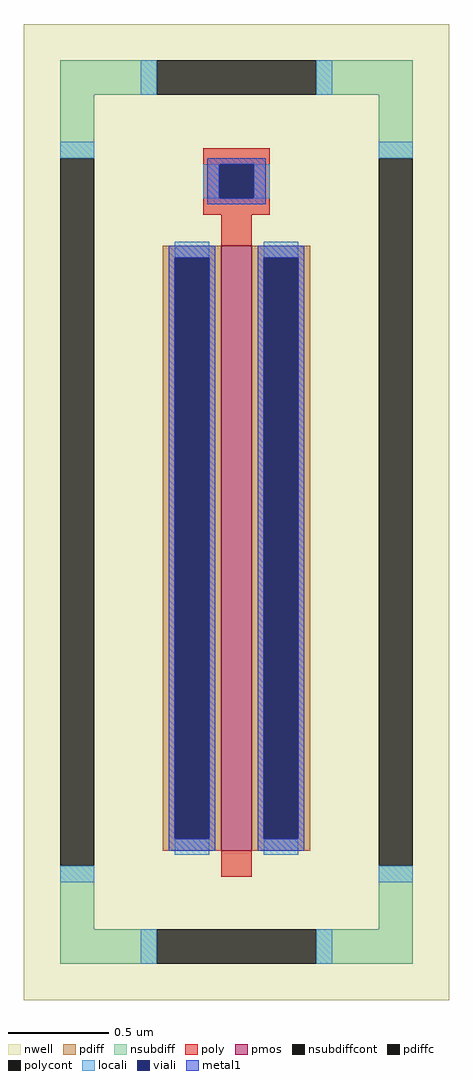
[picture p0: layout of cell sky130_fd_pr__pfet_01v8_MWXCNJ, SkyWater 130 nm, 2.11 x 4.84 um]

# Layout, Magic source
magic
tech sky130A
magscale 1 2
<< nwell >>
rect -211 -484 211 484
<< pmos >>
rect -15 -336 15 264
<< pdiff >>
rect -73 252 -15 264
rect -73 -324 -61 252
rect -27 -324 -15 252
rect -73 -336 -15 -324
rect 15 252 73 264
rect 15 -324 27 252
rect 61 -324 73 252
rect 15 -336 73 -324
<< pdiffc >>
rect -61 -324 -27 252
rect 27 -324 61 252
<< nsubdiff >>
rect -175 414 -79 448
rect 79 414 175 448
rect -175 351 -141 414
rect 141 351 175 414
rect -175 -414 -141 -351
rect 141 -414 175 -351
rect -175 -448 -79 -414
rect 79 -448 175 -414
<< nsubdiffcont >>
rect -79 414 79 448
rect -175 -351 -141 351
rect 141 -351 175 351
rect -79 -448 79 -414
<< poly >>
rect -33 345 33 361
rect -33 311 -17 345
rect 17 311 33 345
rect -33 295 33 311
rect -15 264 15 295
rect -15 -362 15 -336
<< polycont >>
rect -17 311 17 345
<< locali >>
rect -95 414 -79 448
rect 79 414 95 448
rect -175 351 -141 367
rect 141 351 175 367
rect -33 311 -17 345
rect 17 311 33 345
rect -61 252 -27 268
rect -61 -340 -27 -324
rect 27 252 61 268
rect 27 -340 61 -324
rect -175 -367 -141 -351
rect 141 -367 175 -351
rect -95 -448 -79 -414
rect 79 -448 95 -414
<< viali >>
rect -17 311 17 345
rect -61 -324 -27 252
rect 27 -324 61 252
<< metal1 >>
rect -29 345 29 351
rect -29 311 -17 345
rect 17 311 29 345
rect -29 305 29 311
rect -67 252 -21 264
rect -67 -324 -61 252
rect -27 -324 -21 252
rect -67 -336 -21 -324
rect 21 252 67 264
rect 21 -324 27 252
rect 61 -324 67 252
rect 21 -336 67 -324
<< properties >>
string FIXED_BBOX -158 -431 158 431
string gencell sky130_fd_pr__pfet_01v8
string library sky130
string parameters w 3 l 0.15 m 1 nf 1 diffcov 100 polycov 100 guard 1 glc 1 grc 1 gtc 1 gbc 1 tbcov 100 rlcov 100 topc 1 botc 0 poverlap 0 doverlap 1 lmin 0.15 wmin 0.42 compatible {sky130_fd_pr__pfet_01v8  sky130_fd_pr__pfet_01v8_lvt sky130_fd_pr__pfet_01v8_hvt  sky130_fd_pr__pfet_g5v0d10v5} full_metal 0 viasrc 100 viadrn 100 viagate 100 viagb 0 viagr 0 viagl 0 viagt 0
<< end >>
